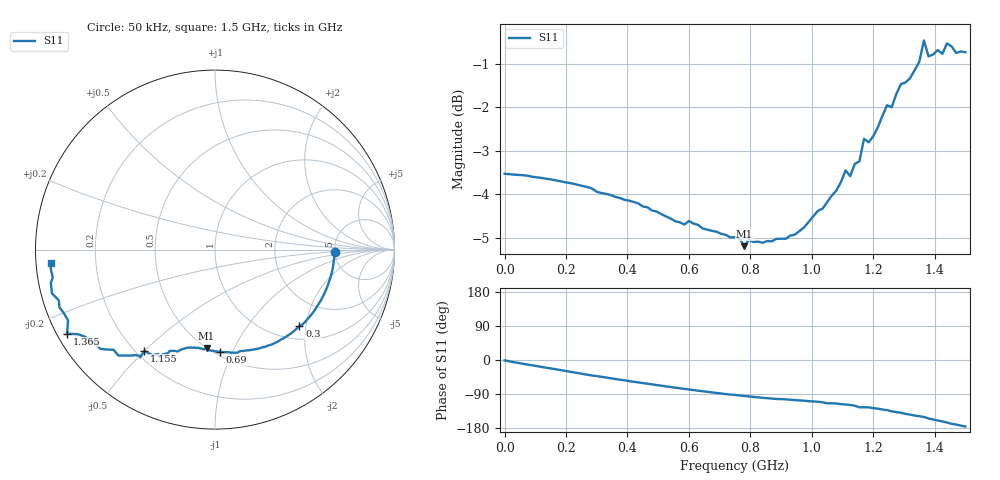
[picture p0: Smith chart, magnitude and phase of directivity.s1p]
! Created with skrf 1.8.0 (http://scikit-rf.org).
# Hz S RI R 50.0
!freq ReS11 ImS11
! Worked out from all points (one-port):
!   101 points, 50 kHz to 1.5 GHz, reference 50 ohm
!   lowest |S11| = -5.2 dB at 780 MHz (marker M1), VSWR 3.45, Z = 25 - j39.2 ohm
!   |S11| at or under -10 dB: nowhere
!   S11 on the Smith chart (normalised r, x): 50 kHz: 4.99, -0.20; 300 MHz: 1.29, -1.84; 690 MHz: 0.53, -0.90; 1.155 GHz: 0.23, -0.50; 1.365 GHz: 0.03, -0.26; 1.5 GHz: 0.04, -0.04
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50000  0.6662 -0.0111
9.0047e7  0.6413 -0.1605
1.950435e8  0.5732 -0.3101
3.0004e8  0.4701 -0.4274
3.750375e8  0.3848 -0.4924
4.650345e8  0.2815 -0.541
5.70031e8  0.156 -0.5649
6.90027e8  0.0293 -0.5709
7.50025e8  -0.0213 -0.563
7.80024e8  -0.047 -0.5482
9.450185e8  -0.1546 -0.5459
1.020016e9  -0.207 -0.5676
1.110013e9  -0.3098 -0.5967
1.125012e9  -0.317 -0.5814
1.155012e9  -0.3933 -0.5653
1.170011e9  -0.4171 -0.6002
1.18501e9  -0.4149 -0.5935
1.245008e9  -0.5376 -0.5907
1.260008e9  -0.5654 -0.5581
1.290007e9  -0.6391 -0.5523
1.320006e9  -0.6965 -0.5011
1.350005e9  -0.762 -0.4716
1.365004e9  -0.8242 -0.4685
1.380004e9  -0.8188 -0.3946
1.425002e9  -0.8704 -0.2828
1.440002e9  -0.9086 -0.2433
1.455002e9  -0.9146 -0.186
1.5e9  -0.9161 -0.0741
